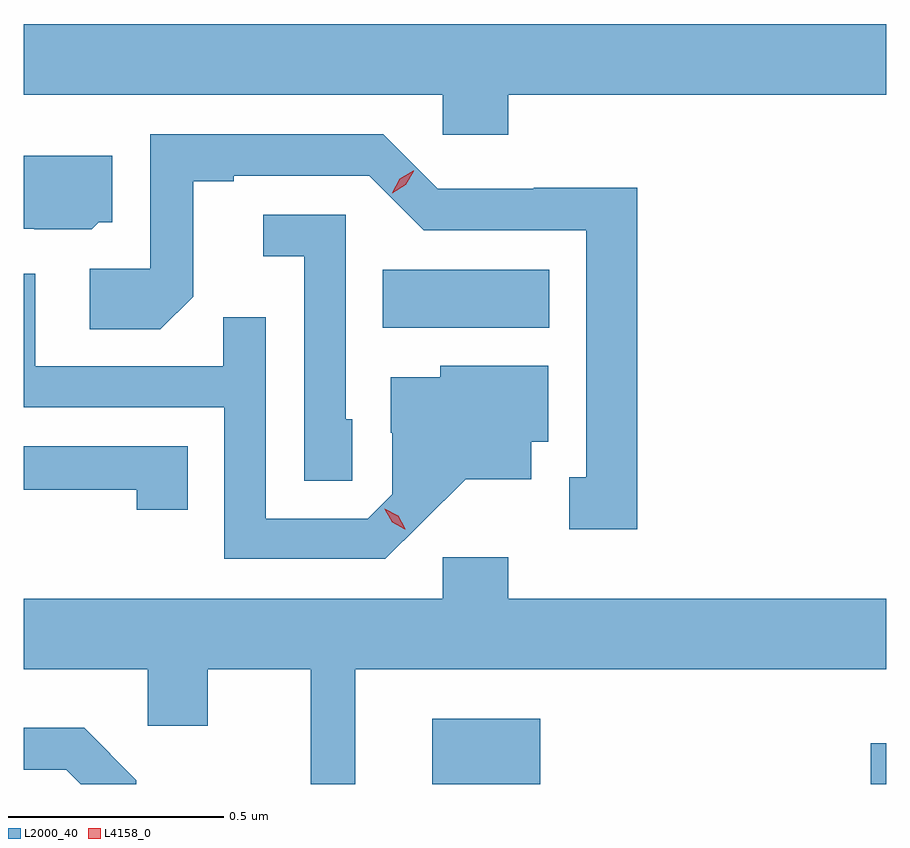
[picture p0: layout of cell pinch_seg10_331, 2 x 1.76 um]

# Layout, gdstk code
import gdstk
lib = gdstk.Library(unit=1e-6, precision=1e-09)
def R(c, l, rs):  # rectangles x0, y0, x1, y1
    for r in rs: c.add(gdstk.rectangle(r[:2], r[2:], *l))
def P(c, l, *ps):  # polygons
    for p in ps: c.add(gdstk.Polygon(p, *l))
L2000_40 = (2000, 40)
L4158_0 = (4158, 0)

pinch_seg10_331 = lib.new_cell('pinch_seg10_331')
R(pinch_seg10_331, L2000_40, [(396.113,1289.394,396.364,1289.545), (397.13,1289.394,397.166,1289.488), (395.998,1290.452,396.385,1290.586)])
P(pinch_seg10_331, L2000_40, [(396.29,1290.992),(397.166,1290.992),(397.166,1291.156),(395.166,1291.156),(395.166,1290.992),(396.138,1290.992),(396.138,1290.899),(396.29,1290.899)],
  [(396.589,1290.776),(396.348,1290.776),(396.348,1290.774),(396.126,1290.774),(396,1290.9),(395.46,1290.9),(395.46,1290.588),(395.319,1290.588),(395.319,1290.448),(395.483,1290.448),(395.559,1290.524),(395.559,1290.792),(395.653,1290.792),(395.653,1290.804),(395.967,1290.804),(396.093,1290.678),(396.47,1290.678),(396.47,1290.105),(396.431,1290.105),(396.431,1289.985),(396.589,1289.985)],
  [(395.34,1290.696),(395.371,1290.696),(395.371,1290.85),(395.166,1290.85),(395.166,1290.681),(395.19,1290.681),(395.19,1290.68),(395.324,1290.68)],
  [(395.928,1290.24),(395.913,1290.24),(395.913,1290.714),(395.721,1290.714),(395.721,1290.617),(395.817,1290.617),(395.817,1290.097),(395.928,1290.097)],
  [(396.088,1289.999),(396.191,1290.101),(396.343,1290.101),(396.343,1290.188),(396.382,1290.188),(396.382,1290.364),(396.132,1290.364),(396.132,1290.337),(396.017,1290.337),(396.017,1290.208),(396.021,1290.208),(396.021,1290.066),(395.964,1290.009),(395.727,1290.009),(395.727,1290.476),(395.629,1290.476),(395.629,1290.363),(395.193,1290.363),(395.193,1290.577),(395.166,1290.577),(395.166,1290.267),(395.631,1290.267),(395.631,1289.916),(396.004,1289.916)],
  [(395.546,1290.177),(395.166,1290.177),(395.166,1290.076),(395.428,1290.076),(395.428,1290.03),(395.546,1290.03)],
  [(395.935,1289.66),(397.166,1289.66),(397.166,1289.824),(396.29,1289.824),(396.29,1289.92),(396.138,1289.92),(396.138,1289.824),(395.166,1289.824),(395.166,1289.66),(395.454,1289.66),(395.454,1289.529),(395.593,1289.529),(395.593,1289.66),(395.831,1289.66),(395.831,1289.394),(395.935,1289.394)],
  [(395.427,1289.403),(395.306,1289.524),(395.166,1289.524),(395.166,1289.427),(395.265,1289.427),(395.298,1289.394),(395.427,1289.394)])
P(pinch_seg10_331, L4158_0, [(396.02,1290.764),(396.02,1290.765),(396.038,1290.797),(396.069,1290.816),(396.07,1290.816),(396.07,1290.815),(396.052,1290.783),(396.02,1290.764)],
  [(396.05,1289.985),(396.02,1290.001),(396.003,1290.031),(396.003,1290.032),(396.003,1290.032),(396.034,1290.016),(396.051,1289.986),(396.051,1289.985)])

lib.write_gds('pinch_seg10_331.gds')
